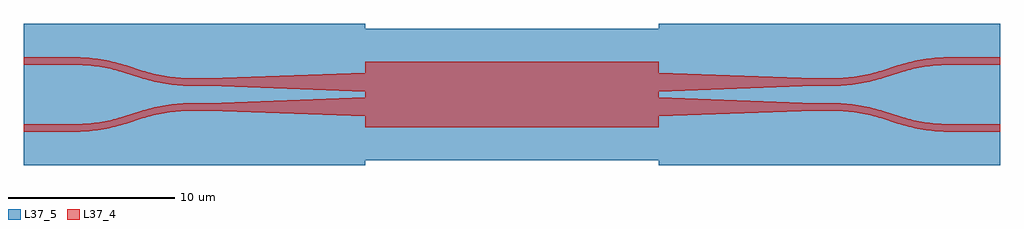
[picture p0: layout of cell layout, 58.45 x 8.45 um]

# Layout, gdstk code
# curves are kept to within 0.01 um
import gdstk
lib = gdstk.Library(unit=1e-6, precision=1e-09)
def R(c, l, rs):  # rectangles x0, y0, x1, y1
    for r in rs: c.add(gdstk.rectangle(r[:2], r[2:], *l))
def P(c, l, *ps):  # polygons
    for p in ps: c.add(gdstk.Polygon(p, *l))
L37_4 = (37, 4)
L37_5 = (37, 5)

wiretaper_1 = lib.new_cell('WireTaper_1')
P(wiretaper_1, L37_4, [(0,-0.225),(0,0.225),(9.372,0.57),(9.372,-0.57)])
P(wiretaper_1, L37_5, [(0,-2.225),(0,2.225),(9.372,2.57),(9.372,-2.57)])

wiretaper_2 = lib.new_cell('WireTaper_2')
P(wiretaper_2, L37_4, [(0,-0.225),(0,0.225),(9.372,0.57),(9.372,-0.57)])
P(wiretaper_2, L37_5, [(0,-2.225),(0,2.225),(9.372,2.57),(9.372,-2.57)])

wiretaper_3 = lib.new_cell('WireTaper_3')
R(wiretaper_3, L37_4, [(0,-1.95,17.566,1.95)])
R(wiretaper_3, L37_5, [(0,-3.95,17.566,3.95)])

wiretaper_4 = lib.new_cell('WireTaper_4')
P(wiretaper_4, L37_4, [(0,-0.57),(0,0.57),(9.372,0.225),(9.372,-0.225)])
P(wiretaper_4, L37_5, [(0,-2.57),(0,2.57),(9.372,2.225),(9.372,-2.225)])

wiretaper_5 = lib.new_cell('WireTaper_5')
P(wiretaper_5, L37_4, [(0,-0.57),(0,0.57),(9.372,0.225),(9.372,-0.225)])
P(wiretaper_5, L37_5, [(0,-2.57),(0,2.57),(9.372,2.225),(9.372,-2.225)])

wiretaper_6 = lib.new_cell('WireTaper_6')
R(wiretaper_6, L37_4, [(0,-0.225,2.019,0.225)])
R(wiretaper_6, L37_5, [(0,-2.225,2.019,2.225)])

wiretaper_7 = lib.new_cell('WireTaper_7')
R(wiretaper_7, L37_4, [(0,-0.225,2.019,0.225)])
R(wiretaper_7, L37_5, [(0,-2.225,2.019,2.225)])

wiretaper_8 = lib.new_cell('WireTaper_8')
R(wiretaper_8, L37_4, [(0,-0.225,2.019,0.225)])
R(wiretaper_8, L37_5, [(0,-2.225,2.019,2.225)])

wiretaper_9 = lib.new_cell('WireTaper_9')
R(wiretaper_9, L37_4, [(0,-0.225,2.019,0.225)])
R(wiretaper_9, L37_5, [(0,-2.225,2.019,2.225)])

layout = lib.new_cell('layout')
P(layout, L37_4, [(36.31,0.517),(37.662,0.523),(38.189,0.555),(38.714,0.614),(39.407,0.734),(39.921,0.856),(41.704,1.407),(42.193,1.531),(42.688,1.631),(43.355,1.723),(43.858,1.762),(45.363,1.775),(45.363,2.225),(44.011,2.219),(43.484,2.187),(42.959,2.128),(42.265,2.008),(41.752,1.886),(39.968,1.335),(39.479,1.211),(38.984,1.111),(38.318,1.019),(37.815,0.98),(36.31,0.967)],
  [(36.31,-0.967),(37.815,-0.98),(38.318,-1.019),(38.984,-1.111),(39.479,-1.211),(39.968,-1.335),(41.752,-1.886),(42.265,-2.008),(42.959,-2.128),(43.484,-2.187),(44.011,-2.219),(45.363,-2.225),(45.363,-1.775),(43.858,-1.762),(43.355,-1.723),(42.688,-1.631),(42.193,-1.531),(41.704,-1.407),(39.921,-0.856),(39.407,-0.734),(38.714,-0.614),(38.189,-0.555),(37.662,-0.523),(36.31,-0.517)],
  [(0,0.517),(-1.352,0.523),(-1.879,0.555),(-2.404,0.614),(-3.097,0.734),(-3.611,0.856),(-5.394,1.407),(-5.883,1.531),(-6.378,1.631),(-7.045,1.723),(-7.548,1.762),(-9.053,1.775),(-9.053,2.225),(-7.701,2.219),(-7.174,2.187),(-6.649,2.128),(-5.955,2.008),(-5.442,1.886),(-3.658,1.335),(-3.169,1.211),(-2.674,1.111),(-2.008,1.019),(-1.505,0.98),(0,0.967)],
  [(0,-0.967),(-1.505,-0.98),(-2.008,-1.019),(-2.674,-1.111),(-3.169,-1.211),(-3.658,-1.335),(-5.442,-1.886),(-5.955,-2.008),(-6.649,-2.128),(-7.174,-2.187),(-7.701,-2.219),(-9.053,-2.225),(-9.053,-1.775),(-7.548,-1.762),(-7.045,-1.723),(-6.378,-1.631),(-5.883,-1.531),(-5.394,-1.407),(-3.611,-0.856),(-3.097,-0.734),(-2.404,-0.614),(-1.879,-0.555),(-1.352,-0.523),(0,-0.517)])
R(layout, L37_5, [(-9.053,-4.225,9.372,4.225), (26.938,-4.225,45.363,4.225)])
P(layout, L37_5, [(36.31,-1.483),(37.941,-1.467),(38.361,-1.438),(38.988,-1.367),(39.611,-1.265),(40.228,-1.13),(40.837,-0.963),(42.248,-0.518),(42.637,-0.419),(43.031,-0.34),(43.428,-0.281),(43.961,-0.235),(45.363,-0.225),(45.363,4.225),(43.732,4.209),(43.102,4.16),(42.684,4.109),(42.062,4.007),(41.445,3.872),(40.836,3.705),(39.425,3.26),(39.035,3.161),(38.642,3.082),(38.245,3.023),(37.711,2.977),(36.31,2.967)],
  [(36.31,-2.967),(37.711,-2.977),(38.245,-3.023),(38.642,-3.082),(39.035,-3.161),(39.425,-3.26),(40.836,-3.705),(41.445,-3.872),(42.062,-4.007),(42.684,-4.109),(43.102,-4.16),(43.732,-4.209),(45.363,-4.225),(45.363,0.225),(43.961,0.235),(43.428,0.281),(43.031,0.34),(42.637,0.419),(42.248,0.518),(40.837,0.963),(40.228,1.13),(39.611,1.265),(38.988,1.367),(38.361,1.438),(37.941,1.467),(36.31,1.483)],
  [(0,-1.483),(-1.631,-1.467),(-2.051,-1.438),(-2.678,-1.367),(-3.301,-1.265),(-3.918,-1.13),(-4.527,-0.963),(-5.938,-0.518),(-6.327,-0.419),(-6.721,-0.34),(-7.118,-0.281),(-7.651,-0.235),(-9.053,-0.225),(-9.053,4.225),(-7.422,4.209),(-6.792,4.16),(-6.374,4.109),(-5.752,4.007),(-5.135,3.872),(-4.526,3.705),(-3.115,3.26),(-2.725,3.161),(-2.332,3.082),(-1.935,3.023),(-1.401,2.977),(0,2.967)],
  [(0,-2.967),(-1.401,-2.977),(-1.935,-3.023),(-2.332,-3.082),(-2.725,-3.161),(-3.115,-3.26),(-4.526,-3.705),(-5.135,-3.872),(-5.752,-4.007),(-6.374,-4.109),(-6.792,-4.16),(-7.422,-4.209),(-9.053,-4.225),(-9.053,0.225),(-7.651,0.235),(-7.118,0.281),(-6.721,0.34),(-6.327,0.419),(-5.938,0.518),(-4.527,0.963),(-3.918,1.13),(-3.301,1.265),(-2.678,1.367),(-2.051,1.438),(-1.631,1.467),(0,1.483)])
layout.add(gdstk.Reference(wiretaper_1, (0,-0.742)))
layout.add(gdstk.Reference(wiretaper_2, (0,0.742)))
layout.add(gdstk.Reference(wiretaper_3, (9.372,0)))
layout.add(gdstk.Reference(wiretaper_4, (26.938,0.742)))
layout.add(gdstk.Reference(wiretaper_5, (26.938,-0.742)))
layout.add(gdstk.Reference(wiretaper_6, (45.363,2)))
layout.add(gdstk.Reference(wiretaper_7, (45.363,-2)))
layout.add(gdstk.Reference(wiretaper_8, (-11.072,2)))
layout.add(gdstk.Reference(wiretaper_9, (-11.072,-2)))

lib.write_gds('layout.gds')
